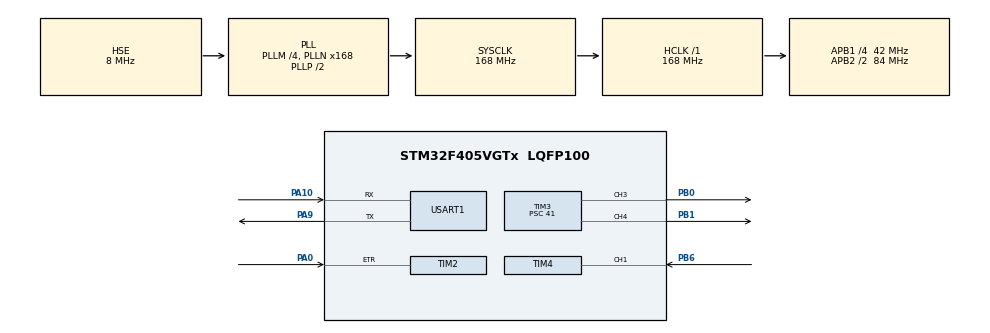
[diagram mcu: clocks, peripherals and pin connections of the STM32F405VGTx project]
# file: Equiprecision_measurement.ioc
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Mcu.Family=STM32F4
Mcu.Name=STM32F405VGTx
Mcu.Package=LQFP100
NVIC.PriorityGroup=NVIC_PRIORITYGROUP_4
NVIC.TIM4_IRQn=true\:1\:0\:true\:false\:true
PA0-WKUP.Signal=S_TIM2_CH1_ETR
PA10.Mode=Asynchronous
PA10.Signal=USART1_RX
PA9.Mode=Asynchronous
PA9.Signal=USART1_TX
PB0.Signal=S_TIM3_CH3
PB1.Signal=S_TIM3_CH4
PB6.Signal=S_TIM4_CH1
PH0-OSC_IN.Mode=HSE-External-Oscillator
PH0-OSC_IN.Signal=RCC_OSC_IN
PH1-OSC_OUT.Mode=HSE-External-Oscillator
PH1-OSC_OUT.Signal=RCC_OSC_OUT
ProjectManager.HeapSize=0x200
ProjectManager.StackSize=0x400
ProjectManager.TargetToolchain=MDK-ARM V5
RCC.48MHZClocksFreq_Value=84000000
RCC.AHBFreq_Value=168000000
RCC.APB1CLKDivider=RCC_HCLK_DIV4
RCC.APB1Freq_Value=42000000
RCC.APB1TimFreq_Value=84000000
RCC.APB2CLKDivider=RCC_HCLK_DIV2
RCC.APB2Freq_Value=84000000
RCC.APB2TimFreq_Value=168000000
RCC.CortexFreq_Value=168000000
RCC.HCLKFreq_Value=168000000
RCC.HSE_VALUE=8000000
RCC.HSI_VALUE=16000000
RCC.LSE_VALUE=32768
RCC.PLLM=4
RCC.PLLN=168
RCC.PLLSourceVirtual=RCC_PLLSOURCE_HSE
RCC.SYSCLKFreq_VALUE=168000000
RCC.SYSCLKSource=RCC_SYSCLKSOURCE_PLLCLK
RCC.VCOOutputFreq_Value=336000000
SH.S_TIM2_CH1_ETR.0=TIM2_ETR,ClockSourceETR_Mode2
SH.S_TIM3_CH3.0=TIM3_CH3,Output Compare3 CH3
SH.S_TIM3_CH4.0=TIM3_CH4,Output Compare4 CH4
SH.S_TIM4_CH1.0=TIM4_CH1,Input_Capture1_from_TI1
TIM1.Period=65535
TIM1.Prescaler=27
TIM1.TIM_MasterSlaveMode=TIM_MASTERSLAVEMODE_DISABLE
TIM2.Period=0xFFFFFFFF
TIM3.Channel-Output\ Compare3\ CH3=TIM_CHANNEL_3
TIM3.Channel-Output\ Compare4\ CH4=TIM_CHANNEL_4
TIM3.Period=99
TIM3.Prescaler=41
TIM3.Pulse-Output\ Compare3\ CH3=49
TIM3.Pulse-Output\ Compare4\ CH4=49
TIM4.Channel-Input_Capture1_from_TI1=TIM_CHANNEL_1
TIM4.Prescaler=83
TIM5.Period=99
TIM5.Prescaler=839
USART1.VirtualMode=VM_ASYNC
VP_TIM1_VS_ClockSourceINT.Mode=Internal
VP_TIM3_VS_ClockSourceINT.Mode=Internal
VP_TIM4_VS_ClockSourceINT.Mode=Internal
VP_TIM5_VS_ClockSourceINT.Mode=Internal
board=Equiprecision_measurement

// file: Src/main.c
/**
  ******************************************************************************
  * File Name          : main.c
  * Description        : Main program body
  ******************************************************************************
  ** This notice applies to any and all portions of this file
  * that are not between comment pairs USER CODE BEGIN and
  * USER CODE END. Other portions of this file, whether
  * inserted by the user or by software development tools
  * are owned by their respective copyright owners.
  *
  * COPYRIGHT(c) 2017 STMicroelectronics
  *
  * Redistribution and use in source and binary forms, with or without modification,
  * are permitted provided that the following conditions are met:
  *   1. Redistributions of source code must retain the above copyright notice,
  *      this list of conditions and the following disclaimer.
  *   2. Redistributions in binary form must reproduce the above copyright notice,
  *      this list of conditions and the following disclaimer in the documentation
  *      and/or other materials provided with the distribution.
  *   3. Neither the name of STMicroelectronics nor the names of its contributors
  *      may be used to endorse or promote products derived from this software
  *      without specific prior written permission.
  *
  * THIS SOFTWARE IS PROVIDED BY THE COPYRIGHT HOLDERS AND CONTRIBUTORS "AS IS"
  * AND ANY EXPRESS OR IMPLIED WARRANTIES, INCLUDING, BUT NOT LIMITED TO, THE
  * IMPLIED WARRANTIES OF MERCHANTABILITY AND FITNESS FOR A PARTICULAR PURPOSE ARE
  * DISCLAIMED. IN NO EVENT SHALL THE COPYRIGHT HOLDER OR CONTRIBUTORS BE LIABLE
  * FOR ANY DIRECT, INDIRECT, INCIDENTAL, SPECIAL, EXEMPLARY, OR CONSEQUENTIAL
  * DAMAGES (INCLUDING, BUT NOT LIMITED TO, PROCUREMENT OF SUBSTITUTE GOODS OR
  * SERVICES; LOSS OF USE, DATA, OR PROFITS; OR BUSINESS INTERRUPTION) HOWEVER
  * CAUSED AND ON ANY THEORY OF LIABILITY, WHETHER IN CONTRACT, STRICT LIABILITY,
  * OR TORT (INCLUDING NEGLIGENCE OR OTHERWISE) ARISING IN ANY WAY OUT OF THE USE
  * OF THIS SOFTWARE, EVEN IF ADVISED OF THE POSSIBILITY OF SUCH DAMAGE.
  *
  ******************************************************************************
  */
#include "main.h"
#include "stm32f4xx_hal.h"
#include "tim.h"
#include "usart.h"
#include "gpio.h"

/* USER CODE BEGIN PV */
/* Private variables ---------------------------------------------------------*/

/* USER CODE END PV */

void SystemClock_Config(void);

/* USER CODE BEGIN PFP */
/* Private function prototypes -----------------------------------------------*/

/* USER CODE END PFP */

/* USER CODE BEGIN 0 */
uint8_t     TIM4CH1_CAPTURE_STA=0X80;		//输入捕获状态
uint32_t	TIM1_COUNTER_VAL[100];	        //定时器1计数组
uint32_t    TIM2_COUNTER_VAL[100];          //定时器2计数组
float	    TIM1_COUNTER_Val;	            //定时器1计数值
float       TIM2_COUNTER_Val;               //定时器2计数值
float       TIM_FREQ;                       //频率值
uint8_t     TIM4CH1_CAPTURE_GATE=0;         //预设闸门标志位
uint8_t     TIM4CH1_CAPTURE_STB=0;          //数组存满标志位
static uint8_t     i;                       //数组用
uint32_t	TIM1_COUNTER_TEMP;	            //定时器1计数滤波
uint32_t    TIM2_COUNTER_TEMP;              //定时器2计数滤波
/* USER CODE END 0 */

int main(void)
{

  /* MCU Configuration----------------------------------------------------------*/

  /* Reset of all peripherals, Initializes the Flash interface and the Systick. */
  HAL_Init();

  /* Configure the system clock */
  SystemClock_Config();

  /* Initialize all configured peripherals */
  MX_GPIO_Init();
  MX_TIM1_Init();
  MX_TIM2_Init();
  MX_TIM3_Init();
  MX_TIM4_Init();
  MX_TIM5_Init();
  MX_USART1_UART_Init();

  /* USER CODE BEGIN 2 */
  HAL_TIM_PWM_Start(&htim3, TIM_CHANNEL_4);  //使能PWM波
  HAL_TIM_PWM_Start(&htim3, TIM_CHANNEL_3);  //使能PWM波

  HAL_TIM_IC_Start_IT(&htim4,TIM_CHANNEL_1); //使能TIM4输入捕获中断
  __HAL_TIM_ENABLE_IT(&htim4, TIM_CHANNEL_1); //使能更新中断
  HAL_TIM_Base_Start_IT(&htim5);             //使能TIM5定时器中断

    __HAL_TIM_SET_COUNTER(&htim1,0);      //定时器1清零
    __HAL_TIM_SET_COUNTER(&htim2,0);      //定时器2清零

  TIM4CH1_CAPTURE_GATE = 1;                   //开启预设闸门
  /* USER CODE END 2 */

  /* Infinite loop */
  while (1)
  {

  /* USER CODE BEGIN 3 */
 HAL_Delay(50);
	//	printf("jiance");
    if(TIM4CH1_CAPTURE_STB)
    {
        TIM1_COUNTER_Val = (float) TIM1_COUNTER_TEMP / 100;
        TIM2_COUNTER_Val = (float) TIM2_COUNTER_TEMP / 100;
        TIM_FREQ = (TIM2_COUNTER_Val*6000.0)/TIM1_COUNTER_Val;

        printf("TIM1:%.2f\r\n",TIM1_COUNTER_Val);
        printf("TIM2:%.2f\r\n",TIM2_COUNTER_Val);
        printf("FREQ:%.2fKHZ\r\n",TIM_FREQ);

        TIM1_COUNTER_TEMP = 0;
        TIM2_COUNTER_TEMP = 0;
        TIM4CH1_CAPTURE_STB = 0;
        TIM4CH1_CAPTURE_STA |= 0X80;
        HAL_TIM_IC_Start_IT(&htim4,TIM_CHANNEL_1);
    }
  }
  /* USER CODE END 3 */

}

/** System Clock Configuration
*/
void SystemClock_Config(void)
{

  RCC_OscInitTypeDef RCC_OscInitStruct;
  RCC_ClkInitTypeDef RCC_ClkInitStruct;

    /**Configure the main internal regulator output voltage
    */
  __HAL_RCC_PWR_CLK_ENABLE();

  __HAL_PWR_VOLTAGESCALING_CONFIG(PWR_REGULATOR_VOLTAGE_SCALE1);

    /**Initializes the CPU, AHB and APB busses clocks
    */
  RCC_OscInitStruct.OscillatorType = RCC_OSCILLATORTYPE_HSE;
  RCC_OscInitStruct.HSEState = RCC_HSE_ON;
  RCC_OscInitStruct.PLL.PLLState = RCC_PLL_ON;
  RCC_OscInitStruct.PLL.PLLSource = RCC_PLLSOURCE_HSE;
  RCC_OscInitStruct.PLL.PLLM = 4;
  RCC_OscInitStruct.PLL.PLLN = 168;
  RCC_OscInitStruct.PLL.PLLP = RCC_PLLP_DIV2;
  RCC_OscInitStruct.PLL.PLLQ = 4;
  if (HAL_RCC_OscConfig(&RCC_OscInitStruct) != HAL_OK)
  {
    _Error_Handler(__FILE__, __LINE__);
  }

    /**Initializes the CPU, AHB and APB busses clocks
    */
  RCC_ClkInitStruct.ClockType = RCC_CLOCKTYPE_HCLK|RCC_CLOCKTYPE_SYSCLK
                              |RCC_CLOCKTYPE_PCLK1|RCC_CLOCKTYPE_PCLK2;
  RCC_ClkInitStruct.SYSCLKSource = RCC_SYSCLKSOURCE_PLLCLK;
  RCC_ClkInitStruct.AHBCLKDivider = RCC_SYSCLK_DIV1;
  RCC_ClkInitStruct.APB1CLKDivider = RCC_HCLK_DIV4;
  RCC_ClkInitStruct.APB2CLKDivider = RCC_HCLK_DIV2;

  if (HAL_RCC_ClockConfig(&RCC_ClkInitStruct, FLASH_LATENCY_5) != HAL_OK)
  {
    _Error_Handler(__FILE__, __LINE__);
  }

    /**Configure the Systick interrupt time
    */
  HAL_SYSTICK_Config(HAL_RCC_GetHCLKFreq()/1000);

    /**Configure the Systick
    */
  HAL_SYSTICK_CLKSourceConfig(SYSTICK_CLKSOURCE_HCLK);

  /* SysTick_IRQn interrupt configuration */
  HAL_NVIC_SetPriority(SysTick_IRQn, 0, 0);
}

/* USER CODE BEGIN 4 */
//定时器TIM4输入捕获中断处理回调函数，该函数在HAL_TIM_IRQHandler中会被调用
void HAL_TIM_IC_CaptureCallback(TIM_HandleTypeDef *htim)//捕获中断发生时执行
{

			if(TIM4CH1_CAPTURE_GATE==0)
			{
				if(TIM4CH1_CAPTURE_STA&0X40)	//第二次捕获到一个上升沿
				{
					TIM4CH1_CAPTURE_STA = 0X80;		//标记成功捕获到一次高电平脉宽
					TIM1_COUNTER_VAL[i] = __HAL_TIM_GET_COUNTER(&htim1); //获得定时器1计数值
					TIM2_COUNTER_VAL[i] = __HAL_TIM_GET_COUNTER(&htim2); //获得定时器2计数值

					TIM1_COUNTER_TEMP += TIM1_COUNTER_VAL[i];
					TIM2_COUNTER_TEMP += TIM2_COUNTER_VAL[i];

					i++;
							if(i == 100)
							{
									i = 0;
									TIM4CH1_CAPTURE_STB = 1;
									TIM4CH1_CAPTURE_STA = 0;
									HAL_TIM_IC_Stop_IT(&htim4,TIM_CHANNEL_1);
							}
					HAL_TIM_Base_Stop(&htim1);            //关闭定时器1
					HAL_TIM_Base_Stop(&htim2);            //关闭定时器2
					__HAL_TIM_SET_COUNTER(&htim1,0);      //定时器1清零
					__HAL_TIM_SET_COUNTER(&htim2,0);      //定时器2清零

			}

}
			if(TIM4CH1_CAPTURE_GATE==1)
			{
					if(TIM4CH1_CAPTURE_STA&0X80)//第一次捕获上升沿
	{
						TIM4CH1_CAPTURE_STA = 0X40;		//标记捕获到了上升沿
						HAL_TIM_Base_Start(&htim1);     //使能定时器1，对标准信号计数
						HAL_TIM_Base_Start(&htim2);     //使能定时器2，对被测信号计数
				}
	}

}
 //定时器TIM5溢出中断处理回调函数
void HAL_TIM_PeriodElapsedCallback(TIM_HandleTypeDef *htim)
{
    if(TIM5 == htim->Instance)
    {
       if(TIM4CH1_CAPTURE_GATE)
       {
            TIM4CH1_CAPTURE_GATE = 0;
       }
       else
       {
            TIM4CH1_CAPTURE_GATE = 1;
       }
    }
}

int fputc(int ch, FILE *f)
{
    HAL_UART_Transmit(&huart1, (uint8_t*)&ch ,1, 0xffff);

    return ch;
}
/* USER CODE END 4 */

void _Error_Handler(char * file, int line)
{
  while(1)
  {
  }
}

/************************ (C) COPYRIGHT STMicroelectronics *****END OF FILE****/
